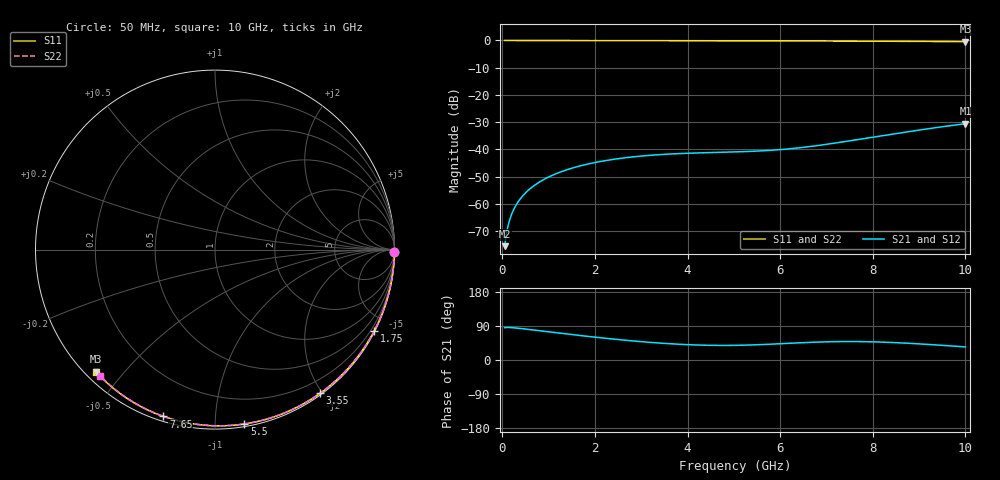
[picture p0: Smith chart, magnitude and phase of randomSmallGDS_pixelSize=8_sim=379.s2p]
! freq	dB(S11)	phase(S11)	dB(S12)	phase(S12)
!  dB(S21)	phase(S21)	dB(S22)	phase(S22)
!S-par simulation data
#  GHz  S  DB  R 50
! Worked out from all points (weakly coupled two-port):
!   200 points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, 50 MHz to 10 GHz, reference 50 ohm
!   highest |S21| = -30.52 dB at 10 GHz (marker M1); lowest = -75.5 dB at 50 MHz (marker M2)
!   lowest |S11| = -0.4 dB at 10 GHz (marker M3), VSWR 39.06, Z = 1.51 - j21.1 ohm
!   |S11| at or under -10 dB: nowhere
!   |S22| runs from -0.4 to 0.0 dB; largest |S21 - S12| = 0
!   S11 on the Smith chart (normalised r, x): 50 MHz: open; 1.75 GHz: 0.04, -4.13; 3.55 GHz: 0.02, -1.97; 5.5 GHz: 0.02, -1.18; 7.65 GHz: 0.02, -0.74; 10 GHz: 0.03, -0.42
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0.05  -0.00 -0.8  -75.46 85.3  -75.46 85.3  -0.00 -0.8
0.1  -0.00 -1.6  -69.73 85.8  -69.73 85.8  -0.00 -1.6
0.15  -0.00 -2.4  -66.28 85.8  -66.28 85.8  -0.00 -2.3
0.2  -0.00 -3.2  -63.82 85.5  -63.82 85.5  -0.00 -3.1
0.25  -0.00 -4.0  -61.90 85.0  -61.90 85.0  -0.00 -3.9
0.35  -0.00 -5.5  -59.00 83.8  -59.00 83.8  -0.00 -5.4
0.5  -0.01 -7.9  -55.94 81.7  -55.94 81.7  -0.01 -7.8
0.7  -0.01 -11.0  -53.08 78.8  -53.08 78.8  -0.01 -10.8
1  -0.02 -15.7  -50.10 74.4  -50.10 74.4  -0.02 -15.4
1.35  -0.03 -21.1  -47.69 69.3  -47.69 69.3  -0.03 -20.7
1.75  -0.03 -27.2  -45.73 63.7  -45.73 63.7  -0.03 -26.8
2.5  -0.05 -38.5  -43.37 54.0  -43.37 54.0  -0.05 -37.9
3.4  -0.07 -51.7  -41.88 44.6  -41.88 44.6  -0.07 -50.9
3.55  -0.07 -53.8  -41.73 43.4  -41.73 43.4  -0.07 -53.0
4.3  -0.09 -64.4  -41.22 39.2  -41.22 39.2  -0.09 -63.4
5.05  -0.11 -74.5  -40.88 38.7  -40.88 38.7  -0.11 -73.4
5.5  -0.13 -80.5  -40.59 40.2  -40.59 40.2  -0.13 -79.3
6.15  -0.16 -88.8  -39.83 43.8  -39.83 43.8  -0.15 -87.5
6.7  -0.18 -95.7  -38.80 46.8  -38.80 46.8  -0.18 -94.3
7.65  -0.24 -107.2  -36.42 48.6  -36.42 48.6  -0.24 -105.7
8.35  -0.29 -115.4  -34.54 46.5  -34.54 46.5  -0.29 -113.8
10  -0.44 -134.2  -30.52 34.5  -30.52 34.5  -0.44 -132.4
